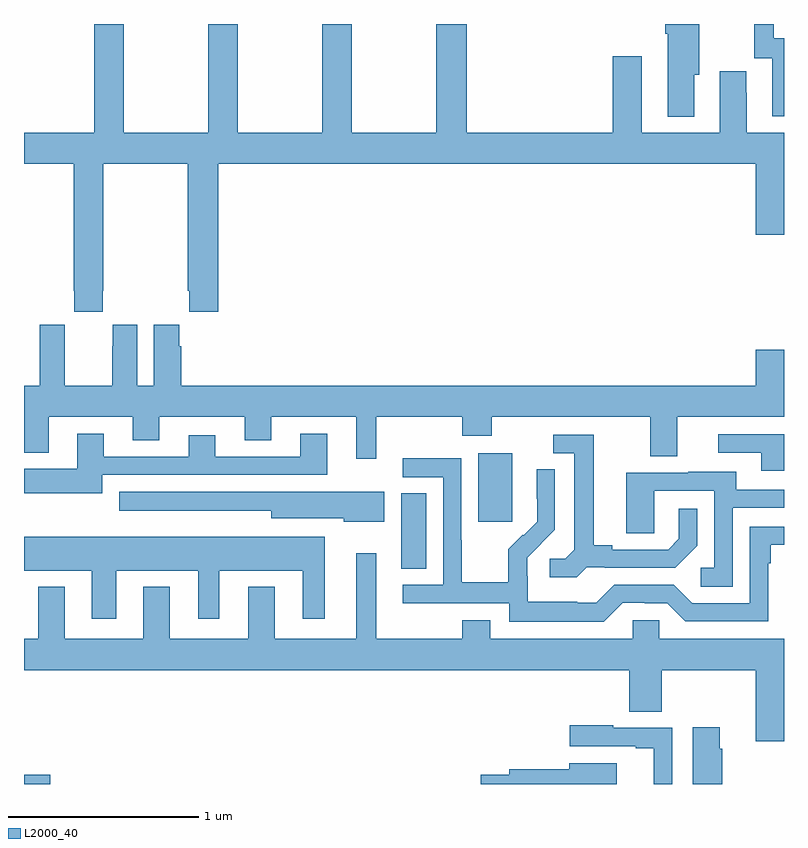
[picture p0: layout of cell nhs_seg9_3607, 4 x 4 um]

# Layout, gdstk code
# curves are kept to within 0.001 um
import gdstk
lib = gdstk.Library(unit=1e-6, precision=1e-09)
def R(c, l, rs):  # rectangles x0, y0, x1, y1
    for r in rs: c.add(gdstk.rectangle(r[:2], r[2:], *l))
def P(c, l, *ps):  # polygons
    for p in ps: c.add(gdstk.Polygon(p, *l))
L2000_40 = (2000, 40)

nhs_seg9_3607 = lib.new_cell('nhs_seg9_3607')
R(nhs_seg9_3607, L2000_40, [(317,1182.5,317.137,1182.548), (318.986,1183.633,319.117,1184.03), (319.391,1183.881,319.57,1184.242)])
P(nhs_seg9_3607, L2000_40, [(320.852,1185.39),(321,1185.39),(321,1185.928),(320.803,1185.928),(320.803,1186.139),(320.8,1186.139),(320.8,1186.252),(320.663,1186.252),(320.663,1185.928),(320.251,1185.928),(320.251,1186.33),(320.099,1186.33),(320.099,1185.928),(319.331,1185.928),(319.331,1186.5),(319.171,1186.5),(319.171,1185.928),(318.726,1185.928),(318.726,1186.5),(318.571,1186.5),(318.571,1185.928),(318.126,1185.928),(318.126,1186.5),(317.971,1186.5),(317.971,1185.928),(317.526,1185.928),(317.526,1186.5),(317.371,1186.5),(317.371,1185.928),(317,1185.928),(317,1185.764),(317.263,1185.764),(317.263,1185.097),(317.265,1185.097),(317.265,1184.985),(317.415,1184.985),(317.415,1185.097),(317.418,1185.097),(317.418,1185.764),(317.863,1185.764),(317.863,1185.097),(317.869,1185.097),(317.869,1184.985),(318.023,1184.985),(318.023,1185.764),(320.852,1185.764)],
  [(320.527,1186.233),(320.553,1186.233),(320.553,1186.5),(320.375,1186.5),(320.375,1186.448),(320.387,1186.448),(320.387,1186.013),(320.527,1186.013)],
  [(321,1186.425),(320.946,1186.425),(320.946,1186.5),(320.843,1186.5),(320.843,1186.32),(320.939,1186.32),(320.939,1186.014),(321,1186.014)],
  [(318.853,1184.432),(319.306,1184.432),(319.306,1184.333),(319.461,1184.333),(319.461,1184.432),(320.297,1184.432),(320.297,1184.224),(320.437,1184.224),(320.437,1184.432),(321,1184.432),(321,1184.785),(320.852,1184.785),(320.852,1184.596),(317.828,1184.596),(317.828,1184.804),(317.818,1184.804),(317.818,1184.917),(317.684,1184.917),(317.684,1184.596),(317.596,1184.596),(317.596,1184.917),(317.466,1184.917),(317.466,1184.804),(317.465,1184.804),(317.465,1184.596),(317.215,1184.596),(317.215,1184.804),(317.214,1184.804),(317.214,1184.917),(317.084,1184.917),(317.084,1184.596),(317,1184.596),(317,1184.243),(317.131,1184.243),(317.131,1184.432),(317.573,1184.432),(317.573,1184.308),(317.713,1184.308),(317.713,1184.432),(318.161,1184.432),(318.161,1184.308),(318.301,1184.308),(318.301,1184.432),(318.749,1184.432),(318.749,1184.211),(318.853,1184.211)],
  [(317.413,1184.127),(318.595,1184.127),(318.595,1184.344),(318.455,1184.344),(318.455,1184.223),(318.007,1184.223),(318.007,1184.335),(317.867,1184.335),(317.867,1184.223),(317.419,1184.223),(317.419,1184.344),(317.279,1184.344),(317.279,1184.158),(317,1184.158),(317,1184.03),(317.413,1184.03)],
  [(321,1184.34),(320.655,1184.34),(320.655,1184.244),(320.879,1184.244),(320.879,1184.148),(321,1184.148)],
  [(319.962,1183.641),(320.056,1183.641),(320.056,1183.638),(320.428,1183.638),(320.544,1183.754),(320.544,1183.948),(320.447,1183.948),(320.447,1183.791),(320.39,1183.734),(320.095,1183.734),(320.095,1183.757),(319.999,1183.757),(319.999,1184.337),(319.785,1184.337),(319.785,1184.241),(319.895,1184.241),(319.895,1183.733),(319.848,1183.686),(319.767,1183.686),(319.767,1183.589),(319.91,1183.589)],
  [(320.151,1183.455),(320.267,1183.455),(320.267,1183.452),(320.385,1183.452),(320.481,1183.356),(320.916,1183.356),(320.916,1183.661),(320.929,1183.661),(320.929,1183.758),(321,1183.758),(321,1183.854),(320.82,1183.854),(320.82,1183.452),(320.517,1183.452),(320.421,1183.548),(320.106,1183.548),(320.013,1183.455),(319.913,1183.455),(319.913,1183.459),(319.65,1183.459),(319.65,1183.593),(319.648,1183.593),(319.648,1183.69),(319.794,1183.838),(319.794,1184.156),(319.698,1184.156),(319.698,1184.002),(319.7,1184.002),(319.7,1183.88),(319.629,1183.809),(319.626,1183.812),(319.549,1183.735),(319.549,1183.561),(319.305,1183.561),(319.305,1183.784),(319.302,1183.784),(319.302,1184.214),(318.993,1184.214),(318.993,1184.115),(319.206,1184.115),(319.206,1183.548),(318.993,1183.548),(318.993,1183.452),(319.554,1183.452),(319.554,1183.355),(320.051,1183.355)],
  [(320.73,1183.953),(321,1183.953),(321,1184.049),(320.749,1184.049),(320.749,1184.143),(320.495,1184.143),(320.495,1184.139),(320.171,1184.139),(320.171,1183.819),(320.316,1183.819),(320.316,1184.043),(320.634,1184.043),(320.634,1183.638),(320.562,1183.638),(320.562,1183.537),(320.73,1183.537)],
  [(318.895,1184.038),(317.502,1184.038),(317.502,1183.937),(318.302,1183.937),(318.302,1183.898),(318.684,1183.898),(318.684,1183.88),(318.895,1183.88)],
  [(317.485,1183.622),(317.918,1183.622),(317.918,1183.371),(318.028,1183.371),(318.028,1183.622),(318.467,1183.622),(318.467,1183.371),(318.583,1183.371),(318.583,1183.801),(317,1183.801),(317,1183.622),(317.357,1183.622),(317.357,1183.371),(317.485,1183.371)],
  [(321,1183.264),(320.343,1183.264),(320.343,1183.362),(320.205,1183.362),(320.205,1183.264),(319.453,1183.264),(319.453,1183.363),(319.306,1183.363),(319.306,1183.264),(318.853,1183.264),(318.853,1183.714),(318.749,1183.714),(318.749,1183.264),(318.319,1183.264),(318.319,1183.537),(318.179,1183.537),(318.179,1183.264),(317.767,1183.264),(317.767,1183.537),(317.627,1183.537),(317.627,1183.264),(317.215,1183.264),(317.215,1183.537),(317.075,1183.537),(317.075,1183.264),(317,1183.264),(317,1183.1),(320.186,1183.1),(320.186,1182.88),(320.357,1182.88),(320.357,1183.1),(320.852,1183.1),(320.852,1182.726),(321,1182.726)],
  [(320.412,1182.795),(320.102,1182.795),(320.102,1182.808),(319.872,1182.808),(319.872,1182.699),(320.219,1182.699),(320.219,1182.687),(320.315,1182.687),(320.315,1182.5),(320.412,1182.5)],
  [(320.675,1182.686),(320.662,1182.686),(320.662,1182.799),(320.519,1182.799),(320.519,1182.5),(320.675,1182.5)],
  [(320.119,1182.61),(319.871,1182.61),(319.871,1182.578),(319.553,1182.578),(319.553,1182.548),(319.404,1182.548),(319.404,1182.5),(320.119,1182.5)])

lib.write_gds('nhs_seg9_3607.gds')
